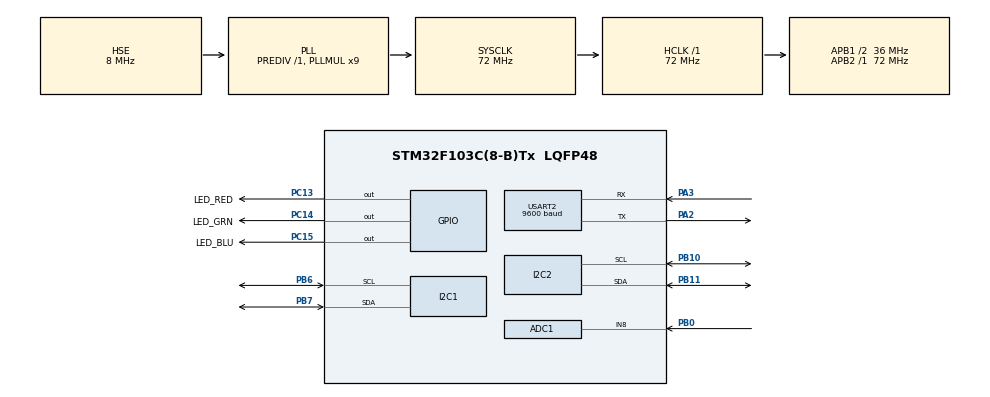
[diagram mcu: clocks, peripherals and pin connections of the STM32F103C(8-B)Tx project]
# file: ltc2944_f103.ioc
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ADC1.Channel-0\#ChannelRegularConversion=ADC_CHANNEL_8
ADC1.ContinuousConvMode=ENABLE
ADC1.NbrOfConversion=1
ADC1.NbrOfConversionFlag=1
ADC1.Rank-0\#ChannelRegularConversion=1
ADC1.SamplingTime-0\#ChannelRegularConversion=ADC_SAMPLETIME_28CYCLES_5
ADC1.master=1
Dma.I2C1_TX.0.Direction=DMA_MEMORY_TO_PERIPH
Dma.I2C1_TX.0.Instance=DMA1_Channel6
Dma.I2C1_TX.0.MemDataAlignment=DMA_MDATAALIGN_BYTE
Dma.I2C1_TX.0.MemInc=DMA_MINC_ENABLE
Dma.I2C1_TX.0.Mode=DMA_NORMAL
Dma.I2C1_TX.0.PeriphDataAlignment=DMA_PDATAALIGN_BYTE
Dma.I2C1_TX.0.PeriphInc=DMA_PINC_DISABLE
Dma.I2C1_TX.0.Priority=DMA_PRIORITY_LOW
Dma.Request0=I2C1_TX
I2C1.I2C_Mode=I2C_Standard
I2C1.NoStretchMode=I2C_NOSTRETCH_ENABLE
I2C2.DutyCycle=I2C_DUTYCYCLE_16_9
I2C2.I2C_Mode=I2C_Fast
I2C2.NoStretchMode=I2C_NOSTRETCH_ENABLE
Mcu.Family=STM32F1
Mcu.Name=STM32F103C(8-B)Tx
Mcu.Package=LQFP48
NVIC.DMA1_Channel6_IRQn=true\:0\:0\:false\:false\:true\:false\:true\:true
NVIC.I2C1_EV_IRQn=true\:0\:0\:false\:false\:true\:true\:true\:true
NVIC.PriorityGroup=NVIC_PRIORITYGROUP_4
PA13.Mode=Serial_Wire
PA13.Signal=SYS_JTMS-SWDIO
PA14.Mode=Serial_Wire
PA14.Signal=SYS_JTCK-SWCLK
PA2.Mode=Asynchronous
PA2.Signal=USART2_TX
PA3.Mode=Asynchronous
PA3.Signal=USART2_RX
PB0.Signal=ADCx_IN8
PB10.Mode=I2C
PB10.Signal=I2C2_SCL
PB11.Mode=I2C
PB11.Signal=I2C2_SDA
PB6.Mode=I2C
PB6.Signal=I2C1_SCL
PB7.Mode=I2C
PB7.Signal=I2C1_SDA
PC13-TAMPER-RTC.GPIO_Label=LED_RED
PC13-TAMPER-RTC.Signal=GPIO_Output
PC14-OSC32_IN.GPIO_Label=LED_GRN
PC14-OSC32_IN.Signal=GPIO_Output
PC15-OSC32_OUT.GPIO_Label=LED_BLU
PC15-OSC32_OUT.Signal=GPIO_Output
PD0-OSC_IN.Mode=HSE-External-Oscillator
PD0-OSC_IN.Signal=RCC_OSC_IN
PD1-OSC_OUT.Mode=HSE-External-Oscillator
PD1-OSC_OUT.Signal=RCC_OSC_OUT
ProjectManager.HeapSize=0x200
ProjectManager.StackSize=0x400
ProjectManager.TargetToolchain=STM32CubeIDE
RCC.ADCPresc=RCC_ADCPCLK2_DIV6
RCC.AHBFreq_Value=72000000
RCC.APB1CLKDivider=RCC_HCLK_DIV2
RCC.APB1Freq_Value=36000000
RCC.APB1TimFreq_Value=72000000
RCC.APB2Freq_Value=72000000
RCC.APB2TimFreq_Value=72000000
RCC.HCLKFreq_Value=72000000
RCC.PLLMUL=RCC_PLL_MUL9
RCC.PLLSourceVirtual=RCC_PLLSOURCE_HSE
RCC.SYSCLKFreq_VALUE=72000000
RCC.SYSCLKSource=RCC_SYSCLKSOURCE_PLLCLK
RCC.USBFreq_Value=72000000
SH.ADCx_IN8.0=ADC1_IN8,IN8
USART2.BaudRate=9600
USART2.VirtualMode=VM_ASYNC
board=custom

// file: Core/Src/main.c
/* USER CODE BEGIN Header */
/**
  ******************************************************************************
  * @file           : main.c
  * @brief          : Main program body
  ******************************************************************************
  * @attention
  *
  * Copyright (c) 2023 STMicroelectronics.
  * All rights reserved.
  *
  * This software is licensed under terms that can be found in the LICENSE file
  * in the root directory of this software component.
  * If no LICENSE file comes with this software, it is provided AS-IS.
  *
  ******************************************************************************
  */
/* USER CODE END Header */
#include "main.h"
#include "adc.h"
#include "dma.h"
#include "i2c.h"
#include "usart.h"
#include "gpio.h"

/* USER CODE BEGIN Includes */
#include "ltc2944.h"
#include "ssd1306.h"
#include "ssd1306_tests.h"
#include <stdbool.h>
#include <stdio.h>

/* USER CODE END Includes */

/* USER CODE BEGIN PV */
uint32_t tick, prev_tick = 0, i2c_timeout = 10;
uint16_t blink_delay = 10;
ltc2944_configuration_t ltc2944_struct = {0};
extern ltc2944_data_t ltc2944_data;

float voltage, current, charge, temperature;
uint16_t volt;

uint8_t buf[2], status;
uint32_t voltage_;
uint16_t temp;
uint16_t qbat = 300, rsns = 5123;
uint16_t sec_prev = 0, seconds = 0;
//uint32_t temp;
//uint8_t ctrl_reg[2];
//float prescalar_value;
uint8_t state;

char stringTick[10];  // Adjust the buffer size as needed
char stringTest1[12], stringTest2[12];
char string_voltage[10], string_current[10], string_charge[10], string_temperature[10];

bool battery_detect = false;
bool is_ltc2944_config = false;
//float prescaler_value, psc_temp;

/* USER CODE END PV */

void SystemClock_Config(void);
/* USER CODE BEGIN PFP */
HAL_StatusTypeDef Device_Config(void);
uint16_t Get_Voltage(void);
void myOLED_char(uint16_t cursorX, uint16_t cursorY, char* data);
void myOLED_float(uint16_t cursorX, uint16_t cursorY, float data);
void myOLED_int(uint16_t cursorX, uint16_t cursorY, uint16_t data);
void myOLED_int8(uint16_t cursorX, uint16_t cursorY, uint8_t data);
void SCL_Reconfig();

typedef enum
{
	IDLE 		= 0,
	BATT_CONN	= 1,
	RUN			= 2,
	STUCK		= 3
}state_t;

#ifdef __GNUC__
#define PUTCHAR_PROTOTYPE int __io_putchar(int ch)
#else
#define PUTCHAR_PROTOTYPE int fputc(int ch, FILE *f)
#endif

PUTCHAR_PROTOTYPE
{
  HAL_UART_Transmit(&huart2, (uint8_t *)&ch, 1, HAL_MAX_DELAY);
  return ch;
}
/* USER CODE END PFP */

int main(void)
{

  /* MCU Configuration--------------------------------------------------------*/

  /* Reset of all peripherals, Initializes the Flash interface and the Systick. */
  HAL_Init();

  /* Configure the system clock */
  SystemClock_Config();

  /* USER CODE BEGIN SysInit */
  SystemClock_Config();
  /* USER CODE END SysInit */

  /* Initialize all configured peripherals */
  MX_GPIO_Init();
  MX_DMA_Init();
  MX_I2C2_Init();
  MX_I2C1_Init();
  MX_ADC1_Init();
  MX_USART2_UART_Init();
  /* USER CODE BEGIN 2 */
  ssd1306_Init();
  HAL_ADC_Start(&hadc1);
//  state_t state = IDLE;

//  while(Device_Config()){
//  }
  HAL_Delay(100);
  myOLED_char(1, 12, "Volt = ");
  myOLED_char(1, 24, "Curr = ");
  myOLED_char(1, 36, "Chg  = ");
  myOLED_char(1, 48, "Temp = ");
  ssd1306_UpdateScreen();
  HAL_Delay(500);

//  ssd1306_Fill(White);
  /* USER CODE END 2 */

  /* Infinite loop */
  /* USER CODE BEGIN WHILE */
  while (1)
  {
	  tick = HAL_GetTick();
	  myOLED_int(1, 2, tick);
//	  LTC2944_Init(ltc2944_struct);
    /* USER CODE END WHILE */

    /* USER CODE BEGIN 3 */

	  HAL_ADC_PollForConversion(&hadc1, 10);
  	  if(HAL_ADC_GetValue(&hadc1) >= 200){
  		  battery_detect = true;
  	  }else if(HAL_ADC_GetValue(&hadc1) < 200){
  		  battery_detect = false;
  	  }

	  switch(state){
	  case IDLE:
		  if(battery_detect){
			  state = BATT_CONN;
		  }else{
			  HAL_GPIO_WritePin(LED_RED_GPIO_Port, LED_RED_Pin, RESET);
			  myOLED_char(50, 24, "        ");	// print empty spaces in curr
			  myOLED_char(50, 36, "       ");	// print empty spaces in chg
			  myOLED_char(50, 48, "  ");		// print empty spaces in temp
			  myOLED_int(50, 2, 0);
			  // Resets the seconds count every time battery is removed
			  if(seconds > 1){
				  seconds = 0;
			  }
		  }
		  break;

	  case BATT_CONN:
		  HAL_GPIO_WritePin(LED_RED_GPIO_Port, LED_RED_Pin, SET); 		// Turn on RED led for indication
		  Device_Config();
		  state = RUN;
		  break;

	  case RUN:
		  /*
		  * test timer for run condition
		  */
		  if(tick - sec_prev >= 1000){		// 1000ms = 1 sec
			  sec_prev = tick;
			  myOLED_int(50, 2, seconds++);
		  }
		  if(battery_detect){
			  uint32_t tickstart = HAL_GetTick();
			  status = LTC2944_Get_Battery_Data(&ltc2944_struct);
			  if((HAL_GetTick() - tickstart) > i2c_timeout){
				  state = STUCK;
				  break;
			  }
			  // print the battery values on oled screen
			  myOLED_float(50, 12, ltc2944_data.voltage);
			  myOLED_float(50, 24, ltc2944_data.current);
			  myOLED_int(50, 36, ltc2944_data.acc_charge);
			  myOLED_int(50, 48, ltc2944_data.temperature);
//			  if(status != HAL_OK){
//				  state = STUCK;
//				  break;
//			  }
		  }else{
			  state = IDLE;
		  }
		  break;

	  case STUCK:		// state to handle stuck LTC2944
		  if(battery_detect){
//			  HAL_I2C_DeInit(&hi2c2);
//			  SCL_Reconfig();
		  }else{
			  state = IDLE;
		  }

		  break;

	  default:
	  }

	  if(tick - prev_tick >= blink_delay){
		  prev_tick = tick;
		  HAL_GPIO_TogglePin(LED_BLU_GPIO_Port, LED_BLU_Pin);
		  myOLED_int(75, 48, state);
		  myOLED_int(95, 48, status);
		  ssd1306_UpdateScreen();
	  }
  }

  /* USER CODE END 3 */
}

void SystemClock_Config(void)
{
  RCC_OscInitTypeDef RCC_OscInitStruct = {0};
  RCC_ClkInitTypeDef RCC_ClkInitStruct = {0};
  RCC_PeriphCLKInitTypeDef PeriphClkInit = {0};

  /** Initializes the RCC Oscillators according to the specified parameters
  * in the RCC_OscInitTypeDef structure.
  */
  RCC_OscInitStruct.OscillatorType = RCC_OSCILLATORTYPE_HSE;
  RCC_OscInitStruct.HSEState = RCC_HSE_ON;
  RCC_OscInitStruct.HSEPredivValue = RCC_HSE_PREDIV_DIV1;
  RCC_OscInitStruct.HSIState = RCC_HSI_ON;
  RCC_OscInitStruct.PLL.PLLState = RCC_PLL_ON;
  RCC_OscInitStruct.PLL.PLLSource = RCC_PLLSOURCE_HSE;
  RCC_OscInitStruct.PLL.PLLMUL = RCC_PLL_MUL9;
  if (HAL_RCC_OscConfig(&RCC_OscInitStruct) != HAL_OK)
  {
    Error_Handler();
  }

  /** Initializes the CPU, AHB and APB buses clocks
  */
  RCC_ClkInitStruct.ClockType = RCC_CLOCKTYPE_HCLK|RCC_CLOCKTYPE_SYSCLK
                              |RCC_CLOCKTYPE_PCLK1|RCC_CLOCKTYPE_PCLK2;
  RCC_ClkInitStruct.SYSCLKSource = RCC_SYSCLKSOURCE_PLLCLK;
  RCC_ClkInitStruct.AHBCLKDivider = RCC_SYSCLK_DIV1;
  RCC_ClkInitStruct.APB1CLKDivider = RCC_HCLK_DIV2;
  RCC_ClkInitStruct.APB2CLKDivider = RCC_HCLK_DIV1;

  if (HAL_RCC_ClockConfig(&RCC_ClkInitStruct, FLASH_LATENCY_2) != HAL_OK)
  {
    Error_Handler();
  }
  PeriphClkInit.PeriphClockSelection = RCC_PERIPHCLK_ADC;
  PeriphClkInit.AdcClockSelection = RCC_ADCPCLK2_DIV6;
  if (HAL_RCCEx_PeriphCLKConfig(&PeriphClkInit) != HAL_OK)
  {
    Error_Handler();
  }
}

/* USER CODE BEGIN 4 */
HAL_StatusTypeDef Device_Config(void){
	ltc2944_struct.adc_mode = 			Automatic_Mode;
	ltc2944_struct.alcc_mode = 			ALCC_Disable;
	ltc2944_struct.sense_resistor = 	5;
	ltc2944_struct.batt_capacity =		3500;
	ltc2944_struct.i2c_handle = 		hi2c2;

	return LTC2944_Init(ltc2944_struct);
}

void myOLED_char(uint16_t cursorX, uint16_t cursorY, char* data){

	ssd1306_SetCursor(cursorX, cursorY);
	ssd1306_WriteString(data, Font_7x10, White);
}

void myOLED_float(uint16_t cursorX, uint16_t cursorY, float data){
	char str_data[10];

	sprintf(str_data, "%.3f", data);
	ssd1306_SetCursor(cursorX, cursorY);
	ssd1306_WriteString(str_data, Font_7x10, White);
}

void myOLED_int(uint16_t cursorX, uint16_t cursorY, uint16_t data){
	char str_data[10];

	sprintf(str_data, "%u", data);
	ssd1306_SetCursor(cursorX, cursorY);
	ssd1306_WriteString(str_data, Font_7x10, White);
}

void myOLED_int8(uint16_t cursorX, uint16_t cursorY, uint8_t data){
	char str_data[10];

	sprintf(str_data, "%d", data);
	ssd1306_SetCursor(cursorX, cursorY);
	ssd1306_WriteString(str_data, Font_7x10, White);
}

void SCL_Reconfig(){
	GPIO_InitTypeDef GPIO_InitStruct = {0};

	/* GPIO Ports Clock Enable */
	__HAL_RCC_GPIOB_CLK_ENABLE();

	/*Configure GPIO pin Output Level */
	HAL_GPIO_WritePin(GPIOB, GPIO_PIN_10, GPIO_PIN_RESET);

	/*Configure GPIO pins : PCPin PCPin PCPin */
	GPIO_InitStruct.Pin = GPIO_PIN_10;
	GPIO_InitStruct.Mode = GPIO_MODE_OUTPUT_PP;
	GPIO_InitStruct.Pull = GPIO_NOPULL;
	GPIO_InitStruct.Speed = GPIO_SPEED_FREQ_MEDIUM;
	HAL_GPIO_Init(GPIOB, &GPIO_InitStruct);
}

//uint16_t Get_Voltage(void){
//
//	HAL_I2C_Mem_Read(&hi2c2, LTC2944_ADDRESS, ACCUMULATED_CHARGE_MSB, 1, buf, 2, 1000);
//	voltage_ = buf[0] << 8 | buf[1];
//	return voltage_;
//}

/* USER CODE END 4 */

void Error_Handler(void)
{
  __disable_irq();
  while (1)
  {
  }
}
